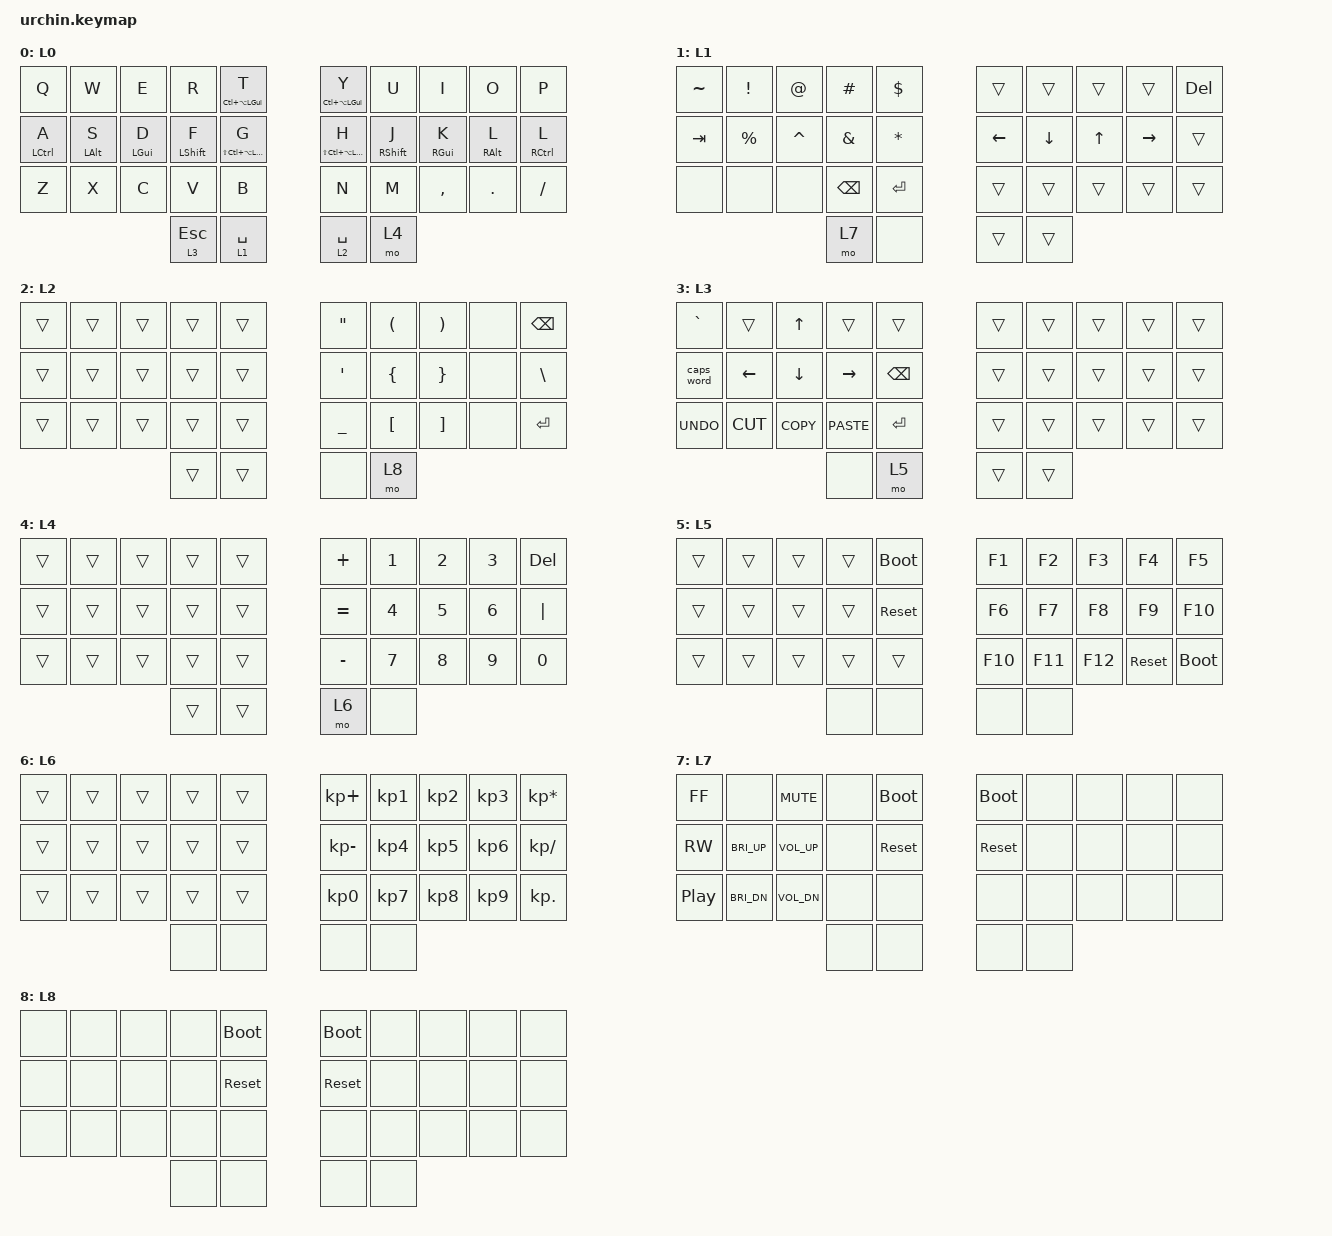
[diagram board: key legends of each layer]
#include <behaviors.dtsi>
#include <dt-bindings/zmk/keys.h>
#include <dt-bindings/zmk/bt.h>
#include <dt-bindings/zmk/outputs.h>

&lt {
	tapping-term-ms= <150>;
};

&mt {
	tapping-term-ms = <150>;
};
 
/ {
	keymap {
		compatible = "zmk,keymap";
		default_layer {
			label = "L0";
			bindings = <
&kp Q       &kp W      &kp E      &kp R       &mt LC(LA(LGUI)) T       &mt LC(LA(LGUI)) Y     &kp U        &kp I       &kp O      &kp P
&mt LCTRL A &mt LALT S &mt LGUI D &mt LSHFT F &mt LS(LC(LA(LGUI))) G   &mt LS(LC(LA(LGUI))) H &mt RSHFT J  &mt RGUI K  &mt RALT L &mt RCTRL L
&kp Z       &kp X      &kp C      &kp V       &kp B                    &kp N                  &kp M        &kp COMMA   &kp DOT    &kp SLASH
		                  &lt 3 ESC   &lt 1 SPACE              &lt 2 SPACE            &mo 4
			>;
		};
		layer_1 {
			label = "L1";
			bindings = <
&kp TILDE  &kp EXCL   &kp AT     &kp HASH  &kp DLLR    &trans    &trans   &trans  &trans     &kp DEL
&kp TAB    &kp PRCNT  &kp CARET  &kp AMPS  &kp ASTRK   &kp LEFT  &kp DOWN &kp UP  &kp RIGHT  &trans
&none      &none      &none      &kp BSPC  &kp ENTER   &trans    &trans   &trans  &trans     &trans
				 &mo 7     &none       &trans    &trans
			>;
		};
		layer_2 {
			label = "L2";
			bindings = <
&trans &trans &trans &trans &trans    &kp DQT   &kp LPAR  &kp RPAR  &none  &kp BSPC
&trans &trans &trans &trans &trans    &kp SQT   &kp LBRC  &kp RBRC  &none  &kp BSLH
&trans &trans &trans &trans &trans    &kp UNDER &kp LBKT  &kp RBKT  &none  &kp ENTER
		     &trans &trans    &none     &mo 8
			>;
		};
		layer_3 {
			label = "L3";
			bindings = <
&kp GRAVE  &trans    &kp UP     &trans      &trans       &trans &trans &trans &trans &trans
&caps_word &kp LEFT  &kp DOWN   &kp RIGHT   &kp BSPC     &trans &trans &trans &trans &trans
&kp K_UNDO  &kp K_CUT &kp K_COPY &kp K_PASTE &kp ENTER   &trans &trans &trans &trans &trans
			        &none       &mo 5        &trans &trans
			>;
		};
		layer_4 {
			label = "L4";
			bindings = <
&trans &trans &trans &trans &trans    &kp PLUS   &kp N1  &kp N2  &kp N3  &kp DEL
&trans &trans &trans &trans &trans    &kp EQUAL  &kp N4  &kp N5  &kp N6  &kp PIPE
&trans &trans &trans &trans &trans    &kp MINUS  &kp N7  &kp N8  &kp N9  &kp N0
		     &trans &trans    &mo 6      &none
			>;
		};
		layer_5 {
			label = "L5";
			bindings = <
&trans &trans &trans &trans &bootloader   &kp F1   &kp F2   &kp F3   &kp F4      &kp F5
&trans &trans &trans &trans &sys_reset    &kp F6   &kp F7   &kp F8   &kp F9      &kp F10
&trans &trans &trans &trans &trans        &kp F10  &kp F11  &kp F12  &sys_reset  &bootloader
		     &none  &none         &none    &none
			>;
		};
		layer_6 {
			label = "L6";
			bindings = <
&trans &trans &trans &trans &trans    &kp KP_PLUS   &kp KP_N1  &kp KP_N2  &kp KP_N3  &kp KP_ASTERISK
&trans &trans &trans &trans &trans    &kp KP_MINUS  &kp KP_N4  &kp KP_N5  &kp KP_N6  &kp KP_SLASH
&trans &trans &trans &trans &trans    &kp KP_N0     &kp KP_N7  &kp KP_N8  &kp KP_N9  &kp KP_DOT
		     &none  &none     &none &none
			>;
		};
		layer_7 {
			label = "L7";
			bindings = <
&kp C_FF &none        &kp K_MUTE   &none &bootloader  &bootloader &none &none &none &none
&kp C_RW &kp C_BRI_UP &kp K_VOL_UP &none &sys_reset   &sys_reset  &none &none &none &none
&kp C_PP &kp C_BRI_DN &kp K_VOL_DN &none &none        &none       &none &none &none &none
		                   &none &none        &none       &none
			>;
		};
		layer_8 {
			label = "L8";
			bindings = <
&none &none &none &none &bootloader    &bootloader &none &none &none &none
&none &none &none &none &sys_reset     &sys_reset  &none &none &none &none
&none &none &none &none &none          &none       &none &none &none &none
		  &none &none          &none       &none
			>;
		};
	};
};
